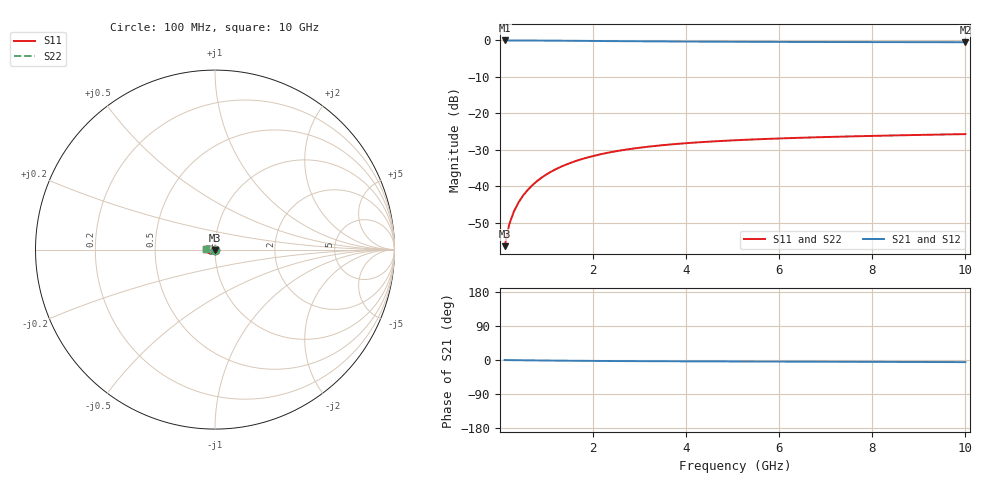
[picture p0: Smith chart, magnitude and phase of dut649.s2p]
! Touchstone file exported from HFSS 2024.1.0
!  File:  C:/UserFiles/LocalFiles/RDL_TSV_Batchsim/temp_TSV1_649_1779791804.aedt
!  Generated:  06:46:34 PM May 26, 2026
!  Design:  TSV1
!  Project:  temp_TSV1_649_1779791804
!  Setup:  Setup1
!  Solution:  Sweep
! Variables:
!  dtsv = 12.19um
!  hbump = 3um
!  htsv = 85.83um
!  lrdl = 252.1521522um
!  p = 40
!  p1 = 59.17um
!  t = 500um
!  trdl = 3um
!  wrdl = 24.89489489um
# GHz S MA R 50.000000
! Terminal data exported
! Port[1] = TSV22_T1
! Port[2] = TSV22_T2
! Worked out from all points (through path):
!   100 points, 100 MHz to 10 GHz, reference 50 ohm
!   highest |S21| = 0.00 dB at 100 MHz (marker M1); lowest = -0.5 dB at 10 GHz (marker M2)
!   lowest |S11| = -56.3 dB at 100 MHz (marker M3), VSWR 1.00, Z = 50 - j0.152 ohm
!   |S11| at or under -10 dB: start of sweep to end of sweep
!   |S22| runs from -56.3 to -25.7 dB; largest |S21 - S12| = 7.3e-15
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0.1  0.001523 -88.2  0.9998 -0.1  0.9998 -0.1  0.001523 -88.2
! Gamma 0 0 0 0
! Port Impedance 50 0 50 0
0.2  0.00304 -92.0  0.9997 -0.3  0.9997 -0.3  0.00304 -92.0
0.3  0.004554 -94.5  0.9994 -0.4  0.9994 -0.4  0.004554 -94.5
0.4  0.00606 -96.8  0.999 -0.6  0.999 -0.6  0.00606 -96.8
0.5  0.007553 -99.0  0.9985 -0.7  0.9985 -0.7  0.007553 -99.0
0.6  0.009025 -101.1  0.998 -0.9  0.998 -0.9  0.009025 -101.1
0.7  0.01047 -103.1  0.9973 -1.0  0.9973 -1.0  0.01047 -103.1
0.8  0.0119 -105.1  0.9966 -1.1  0.9966 -1.1  0.0119 -105.1
0.9  0.01329 -107.1  0.9958 -1.3  0.9958 -1.3  0.01329 -107.1
1.1  0.01597 -110.9  0.994 -1.5  0.994 -1.5  0.01597 -110.9
1.4  0.01971 -116.3  0.991 -1.8  0.991 -1.8  0.01971 -116.3
1.6  0.02201 -119.8  0.9889 -2.0  0.9889 -2.0  0.02201 -119.8
1.8  0.02415 -123.0  0.9867 -2.2  0.9867 -2.2  0.02415 -123.0
2.1  0.02706 -127.7  0.9834 -2.5  0.9834 -2.5  0.02706 -127.7
2.5  0.03044 -133.3  0.9791 -2.7  0.9791 -2.7  0.03044 -133.3
2.9  0.0333 -138.4  0.9751 -3.0  0.9751 -3.0  0.0333 -138.4
3.4  0.03628 -144.0  0.9706 -3.2  0.9706 -3.2  0.03628 -144.0
4.2  0.03999 -151.8  0.9646 -3.6  0.9646 -3.6  0.03999 -151.8
5.1  0.04309 -159.1  0.9595 -3.9  0.9595 -3.9  0.04309 -159.1
6.7  0.04697 -169.6  0.9531 -4.4  0.9531 -4.4  0.04697 -169.6
8.4  0.04992 -178.4  0.9488 -5.0  0.9488 -5.0  0.04992 -178.4
10  0.05218 174.6  0.946 -5.6  0.946 -5.6  0.05218 174.6
